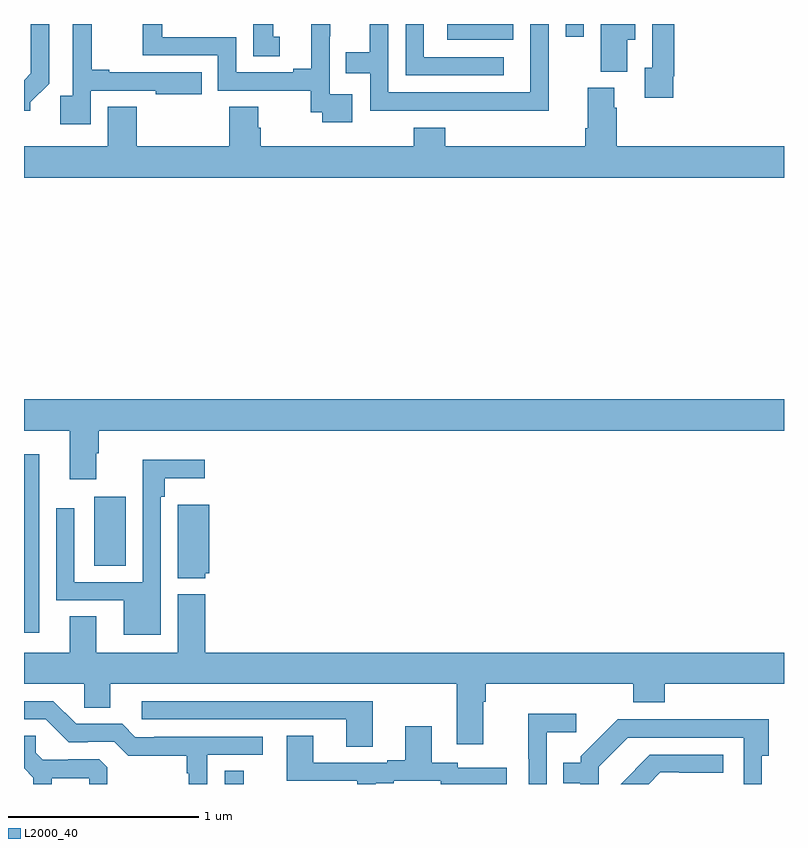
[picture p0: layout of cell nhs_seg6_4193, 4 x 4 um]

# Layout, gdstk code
import gdstk
lib = gdstk.Library(unit=1e-6, precision=1e-09)
def R(c, l, rs):  # rectangles x0, y0, x1, y1
    for r in rs: c.add(gdstk.rectangle(r[:2], r[2:], *l))
def P(c, l, *ps):  # polygons
    for p in ps: c.add(gdstk.Polygon(p, *l))
L2000_40 = (2000, 40)

nhs_seg6_4193 = lib.new_cell('nhs_seg6_4193')
R(nhs_seg6_4193, L2000_40, [(360.057,921.5,360.156,921.569), (359,922.296,359.08,923.236), (359.369,922.648,359.536,923.011), (361.227,925.418,361.576,925.5), (361.851,925.434,361.947,925.5)])
P(nhs_seg6_4193, L2000_40, [(360.727,925.131),(360.609,925.131),(360.609,925.435),(360.611,925.435),(360.611,925.5),(360.512,925.5),(360.512,925.265),(360.416,925.265),(360.416,925.245),(360.117,925.245),(360.117,925.431),(359.727,925.431),(359.727,925.5),(359.626,925.5),(359.626,925.335),(360.021,925.335),(360.021,925.149),(360.508,925.149),(360.508,925.035),(360.571,925.035),(360.571,924.984),(360.727,924.984)],
  [(361.525,925.326),(361.104,925.326),(361.104,925.5),(361.008,925.5),(361.008,925.23),(361.525,925.23)],
  [(361.763,925.346),(361.761,925.346),(361.761,925.5),(361.665,925.5),(361.665,925.14),(360.918,925.14),(360.918,925.5),(360.821,925.5),(360.821,925.351),(360.694,925.351),(360.694,925.242),(360.822,925.242),(360.822,925.044),(361.3,925.044),(361.3,925.043),(361.763,925.043)],
  [(362.416,925.225),(362.423,925.225),(362.423,925.5),(362.307,925.5),(362.307,925.269),(362.267,925.269),(362.267,925.113),(362.416,925.113)],
  [(359.352,925.149),(359.693,925.149),(359.693,925.13),(359.936,925.13),(359.936,925.245),(359.449,925.245),(359.449,925.258),(359.357,925.258),(359.357,925.5),(359.256,925.5),(359.256,925.123),(359.191,925.123),(359.191,924.972),(359.352,924.972)],
  [(360.346,925.434),(360.313,925.434),(360.313,925.5),(360.206,925.5),(360.206,925.33),(360.346,925.33)],
  [(359.034,925.087),(359.133,925.186),(359.133,925.5),(359.036,925.5),(359.036,925.241),(359,925.205),(359,925.043),(359.034,925.043)],
  [(362.176,925.418),(362.218,925.418),(362.218,925.5),(362.036,925.5),(362.036,925.249),(362.176,925.249)],
  [(363,924.856),(362.12,924.856),(362.12,925.058),(362.107,925.058),(362.107,925.164),(361.967,925.164),(361.967,924.952),(361.955,924.952),(361.955,924.856),(361.217,924.856),(361.217,924.955),(361.052,924.955),(361.052,924.856),(360.245,924.856),(360.245,924.954),(360.232,924.954),(360.232,925.064),(360.08,925.064),(360.08,924.856),(359.594,924.856),(359.594,925.064),(359.441,925.064),(359.441,924.856),(359,924.856),(359,924.692),(363,924.692)],
  [(359.38,923.24),(359.393,923.24),(359.393,923.36),(363,923.36),(363,923.524),(359,923.524),(359,923.36),(359.24,923.36),(359.24,923.103),(359.38,923.103)],
  [(359.721,923.012),(359.741,923.012),(359.741,923.108),(359.95,923.108),(359.95,923.206),(359.625,923.206),(359.625,922.563),(359.265,922.563),(359.265,922.951),(359.169,922.951),(359.169,922.467),(359.525,922.467),(359.525,922.286),(359.721,922.286)],
  [(359.955,922.608),(359.974,922.608),(359.974,922.969),(359.81,922.969),(359.81,922.583),(359.955,922.583)],
  [(361.417,921.932),(361.43,921.932),(361.43,922.028),(362.207,922.028),(362.207,921.929),(362.372,921.929),(362.372,922.028),(363,922.028),(363,922.192),(359.954,922.192),(359.954,922.498),(359.81,922.498),(359.81,922.192),(359.38,922.192),(359.38,922.382),(359.24,922.382),(359.24,922.192),(359,922.192),(359,922.028),(359.316,922.028),(359.316,921.901),(359.455,921.901),(359.455,922.028),(361.277,922.028),(361.277,921.708),(361.417,921.708)],
  [(359.964,921.654),(360.256,921.654),(360.256,921.75),(359.686,921.75),(359.686,921.747),(359.586,921.747),(359.517,921.816),(359.274,921.816),(359.154,921.936),(359,921.936),(359,921.84),(359.115,921.84),(359.235,921.72),(359.336,921.72),(359.336,921.723),(359.475,921.723),(359.548,921.65),(359.856,921.65),(359.856,921.557),(359.868,921.557),(359.868,921.5),(359.964,921.5)],
  [(360.835,921.936),(359.619,921.936),(359.619,921.84),(360.695,921.84),(360.695,921.697),(360.835,921.697)],
  [(361.752,921.773),(361.906,921.773),(361.906,921.871),(361.654,921.871),(361.654,921.632),(361.656,921.632),(361.656,921.5),(361.752,921.5)],
  [(362.025,921.591),(362.178,921.744),(362.787,921.744),(362.787,921.5),(362.883,921.5),(362.883,921.65),(362.92,921.65),(362.92,921.842),(362.455,921.842),(362.455,921.84),(362.124,921.84),(361.929,921.645),(361.929,921.613),(361.837,921.613),(361.837,921.504),(361.928,921.504),(361.928,921.5),(362.025,921.5)],
  [(360.85,921.504),(360.946,921.504),(360.946,921.516),(361.194,921.516),(361.194,921.5),(361.54,921.5),(361.54,921.585),(361.284,921.585),(361.284,921.612),(361.147,921.612),(361.147,921.805),(361.007,921.805),(361.007,921.625),(360.911,921.625),(360.911,921.612),(360.523,921.612),(360.523,921.755),(360.383,921.755),(360.383,921.516),(360.753,921.516),(360.753,921.5),(360.85,921.5)],
  [(359.147,921.53),(359.344,921.53),(359.344,921.5),(359.438,921.5),(359.438,921.589),(359.397,921.63),(359.232,921.63),(359.232,921.627),(359.098,921.627),(359.061,921.664),(359.061,921.755),(359,921.755),(359,921.582),(359.049,921.533),(359.049,921.5),(359.147,921.5)],
  [(362.349,921.561),(362.449,921.561),(362.449,921.558),(362.68,921.558),(362.68,921.654),(362.294,921.654),(362.14,921.5),(362.288,921.5)])

lib.write_gds('nhs_seg6_4193.gds')
